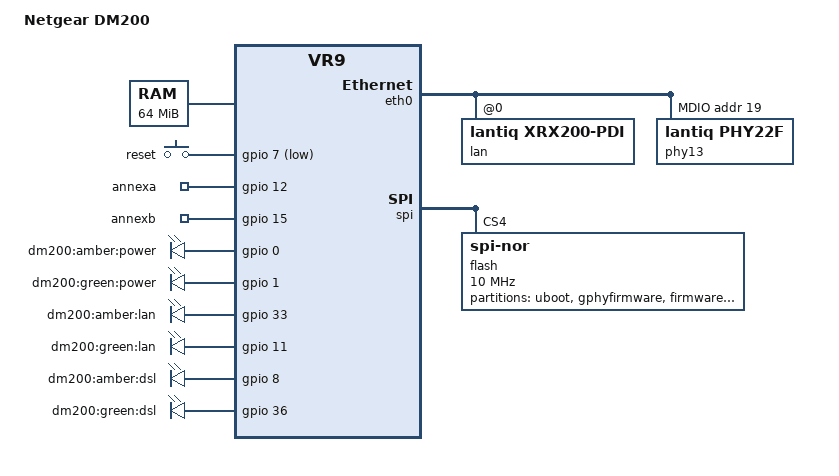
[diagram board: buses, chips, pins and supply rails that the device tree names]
/dts-v1/;

#include "vr9.dtsi"

#include <dt-bindings/input/input.h>
#include <dt-bindings/mips/lantiq_rcu_gphy.h>

/ {
	compatible = "netgear,dm200", "lantiq,xway", "lantiq,vr9";
	model = "Netgear DM200";

	chosen {
		bootargs = "console=ttyLTQ0,115200";
	};

	aliases {
		led-boot = &power_green;
		led-failsafe = &power_amber;
		led-running = &power_green;
		led-upgrade = &power_green;

		led-dsl = &dsl_green;
	};

	memory@0 {
		device_type = "memory";
		reg = <0x0 0x4000000>;
	};

	keys {
		compatible = "gpio-keys-polled";
		poll-interval = <100>;
		reset {
			label = "reset";
			gpios = <&gpio 7 GPIO_ACTIVE_LOW>;
			linux,code = <KEY_RESTART>;
		};
	};

	gpio_export {
		compatible = "gpio-export";
		#size-cells = <0>;

		annexa {
			gpio-export,name = "annexa";
			gpio-export,output = <0>;
			gpios = <&gpio 12 GPIO_ACTIVE_HIGH>;
		};
		annexb {
			gpio-export,name = "annexb";
			gpio-export,output = <0>;
			gpios = <&gpio 15 GPIO_ACTIVE_HIGH>;
		};
	};

	leds {
		compatible = "gpio-leds";

		power_amber: power_amber {
			label = "dm200:amber:power";
			gpios = <&gpio 0 GPIO_ACTIVE_HIGH>;
		};
		power_green: power_green {
			label = "dm200:green:power";
			gpios = <&gpio 1 GPIO_ACTIVE_HIGH>;
		};

		lan_amber {
			label = "dm200:amber:lan";
			gpios = <&gpio 33 GPIO_ACTIVE_HIGH>;
		};
		lan_green {
			label = "dm200:green:lan";
			gpios = <&gpio 11 GPIO_ACTIVE_HIGH>;
		};

		dsl_amber {
			label = "dm200:amber:dsl";
			gpios = <&gpio 8 GPIO_ACTIVE_HIGH>;
		};
		dsl_green: dsl_green {
			label = "dm200:green:dsl";
			gpios = <&gpio 36 GPIO_ACTIVE_HIGH>;
		};
	};
};

&eth0 {
	lantiq,phys = <&gphy1>;

	lan: interface@0 {
		compatible = "lantiq,xrx200-pdi";
		#address-cells = <1>;
		#size-cells = <0>;
		reg = <0>;

		ethernet@4 {
			compatible = "lantiq,xrx200-pdi-port";
			reg = <4>;
			phy-mode = "mii";
			phy-handle = <&phy13>;
		};
	};

	mdio {
		#address-cells = <1>;
		#size-cells = <0>;
		compatible = "lantiq,xrx200-mdio";

		phy13: ethernet-phy@13 {
			reg = <0x13>;
			compatible = "lantiq,phy22f", "ethernet-phy-ieee802.3-c22";
		};
	};
};

&gphy1 {
	lantiq,gphy-mode = <GPHY_MODE_FE>;
};

&pcie0 {
	status = "disabled";
};

&spi {
	status = "okay";

	flash@4 {
		compatible = "jedec,spi-nor";
		reg = <4>;
		spi-max-frequency = <10000000>;

		partitions {
			#address-cells = <1>;
			#size-cells = <1>;
			compatible = "fixed-partitions";

			partition@0 {
				reg = <0x0 0x20000>;
				label = "uboot";
				read-only;
			};

			partition@20000 {
				reg = <0x20000 0x10000>;
				label = "gphyfirmware";
				read-only;
			};

			partition@30000 {
				reg = <0x30000 0x7b0000>;
				label = "firmware";
			};

			partition@7e0000 {
				reg = <0x7e0000 0x10000>;
				label = "sysconfig";
				read-only;
			};

			partition@7f0000 {
				reg = <0x7f0000 0x2000>;
				label = "u-boot-env";
				read-only;
			};

			partition@7f2000 {
				reg = <0x7f2000 0x1000>;
				label = "ART";
				read-only;
			};

			partition@7f3000 {
				reg = <0x7f3000 0x1000>;
				label = "pot";
				read-only;
			};

			partition@7f4000 {
				reg = <0x7f4000 0xc000>;
				label = "ret";
				read-only;
			};
		};
	};
};
